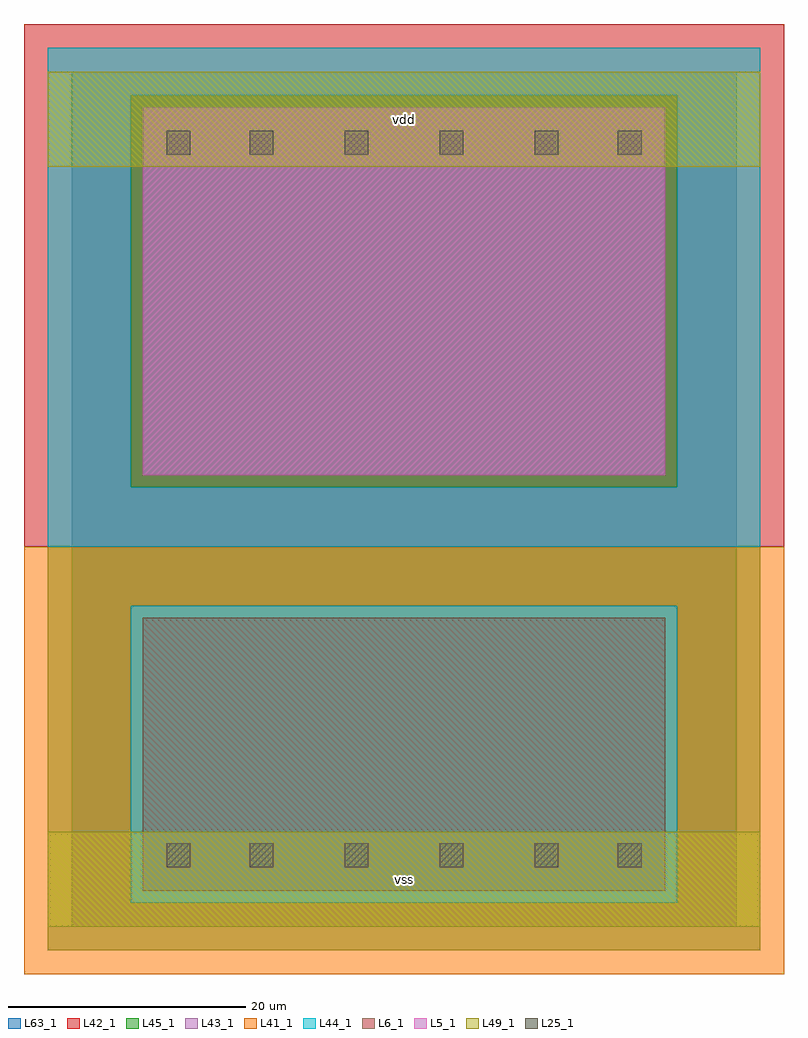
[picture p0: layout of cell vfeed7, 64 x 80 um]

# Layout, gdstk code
import gdstk
lib = gdstk.Library(unit=1e-6, precision=1e-09)
def R(c, l, rs):  # rectangles x0, y0, x1, y1
    for r in rs: c.add(gdstk.rectangle(r[:2], r[2:], *l))
def A(c, l, x, y, w, h, nx, ny, dx, dy):  # array of equal rectangles
    R(c, l, [(x+i*dx, y+j*dy, x+i*dx+w, y+j*dy+h) for i in range(nx) for j in range(ny)])
L5_1 = (5, 1)
L6_1 = (6, 1)
L25_1 = (25, 1)
L41_1 = (41, 1)
L42_1 = (42, 1)
L43_1 = (43, 1)
L44_1 = (44, 1)
L45_1 = (45, 1)
L49_1 = (49, 1)
L63_1 = (63, 1)

vfeed7 = lib.new_cell('vfeed7')
R(vfeed7, L5_1, [(6,38,50,69)])
R(vfeed7, L6_1, [(6,3,50,26), (6,3,50,26)])
A(vfeed7, L25_1, 15, 5, 2, 2, 4, 2, 8, 60)
R(vfeed7, L25_1, [(8,5,10,7), (46,5,48,7), (8,65,10,67), (46,65,48,67)])
R(vfeed7, L41_1, [(-4,-4,60,32)])
R(vfeed7, L42_1, [(-4,32,60,76)])
R(vfeed7, L43_1, [(6,3,50,26), (6,38,50,69)])
R(vfeed7, L44_1, [(5,2,51,27), (-2,32,58,37), (-2,37,5,70), (51,37,58,70), (-2,70,58,74)])
R(vfeed7, L45_1, [(-2,-2,58,2), (-2,2,5,27), (51,2,58,27), (-2,27,58,32), (5,37,51,70)])
R(vfeed7, L49_1, [(-2,0,58,8), (-2,64,58,72)])
R(vfeed7, L63_1, [(0,0,56,72)])
vfeed7.add(gdstk.Label('vss', (28,4), layer=49, texttype=1))
vfeed7.add(gdstk.Label('vdd', (28,68), layer=49, texttype=1))

lib.write_gds('vfeed7.gds')
